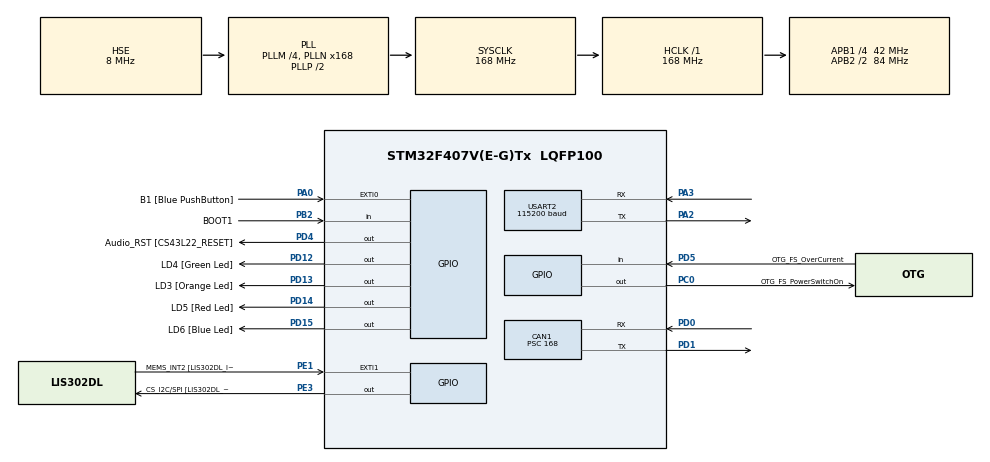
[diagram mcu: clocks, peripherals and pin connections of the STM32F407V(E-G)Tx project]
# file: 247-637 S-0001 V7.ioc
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CAN1.BS1=CAN_BS1_3TQ
CAN1.CalculateTimeQuantum=4000.0
CAN1.Prescaler=168
Mcu.Family=STM32F4
Mcu.Name=STM32F407V(E-G)Tx
Mcu.Package=LQFP100
NVIC.PriorityGroup=NVIC_PRIORITYGROUP_0
NVIC.TIM6_DAC_IRQn=true\:0\:0\:false\:false\:true\:true\:true
PA0-WKUP.GPIO_Label=B1 [Blue PushButton]
PA0-WKUP.Signal=GPXTI0
PA10.GPIO_Label=OTG_FS_ID
PA10.GPIO_Mode=GPIO_MODE_AF_PP
PA10.GPIO_PuPd=GPIO_NOPULL
PA10.GPIO_Speed=GPIO_SPEED_FREQ_LOW
PA10.Signal=USB_OTG_FS_ID
PA11.GPIO_Label=OTG_FS_DM
PA11.GPIO_Mode=GPIO_MODE_AF_PP
PA11.GPIO_PuPd=GPIO_NOPULL
PA11.GPIO_Speed=GPIO_SPEED_FREQ_LOW
PA11.Signal=USB_OTG_FS_DM
PA12.GPIO_Label=OTG_FS_DP
PA12.GPIO_Mode=GPIO_MODE_AF_PP
PA12.GPIO_PuPd=GPIO_NOPULL
PA12.GPIO_Speed=GPIO_SPEED_FREQ_LOW
PA12.Signal=USB_OTG_FS_DP
PA13.GPIO_Label=SWDIO
PA13.Signal=SYS_JTMS-SWDIO
PA14.GPIO_Label=SWCLK
PA14.Signal=SYS_JTCK-SWCLK
PA2.Mode=Asynchronous
PA2.Signal=USART2_TX
PA3.Mode=Asynchronous
PA3.Signal=USART2_RX
PA4.GPIO_Label=I2S3_WS [CS43L22_LRCK]
PA4.GPIO_Mode=GPIO_MODE_AF_PP
PA4.GPIO_PuPd=GPIO_NOPULL
PA4.GPIO_Speed=GPIO_SPEED_FREQ_LOW
PA4.Signal=I2S3_WS
PA5.GPIO_Label=SPI1_SCK [LIS302DL_SCL/SPC]
PA5.GPIO_Mode=GPIO_MODE_AF_PP
PA5.GPIO_PuPd=GPIO_NOPULL
PA5.GPIO_Speed=GPIO_SPEED_FREQ_LOW
PA5.Signal=SPI1_SCK
PA6.GPIO_Label=SPI1_MISO [LIS302DL_SDO]
PA6.GPIO_Mode=GPIO_MODE_AF_PP
PA6.GPIO_PuPd=GPIO_NOPULL
PA6.GPIO_Speed=GPIO_SPEED_FREQ_LOW
PA6.Signal=SPI1_MISO
PA7.GPIO_Label=SPI1_MOSI [LIS302DL_SDA/SDI/SDO]
PA7.GPIO_Mode=GPIO_MODE_AF_PP
PA7.GPIO_PuPd=GPIO_NOPULL
PA7.GPIO_Speed=GPIO_SPEED_FREQ_LOW
PA7.Signal=SPI1_MOSI
PA9.GPIO_Label=VBUS_FS
PA9.GPIO_Mode=GPIO_MODE_INPUT
PA9.GPIO_PuPd=GPIO_NOPULL
PA9.Signal=USB_OTG_FS_VBUS
PB10.GPIO_Label=CLK_IN [MP45DT02_CLK]
PB10.GPIO_Mode=GPIO_MODE_AF_PP
PB10.GPIO_PuPd=GPIO_NOPULL
PB10.GPIO_Speed=GPIO_SPEED_FREQ_LOW
PB10.Signal=I2S2_CK
PB2.GPIO_Label=BOOT1
PB2.GPIO_Mode=GPIO_MODE_INPUT
PB2.GPIO_PuPd=GPIO_NOPULL
PB2.Signal=GPIO_Input
PB3.GPIO_Label=SWO
PB3.Signal=SYS_JTDO-SWO
PB6.GPIO_Label=Audio_SCL [CS43L22_SCL]
PB6.GPIO_Mode=GPIO_MODE_AF_OD
PB6.GPIO_PuPd=GPIO_NOPULL
PB6.GPIO_Speed=GPIO_SPEED_FREQ_LOW
PB6.Signal=I2C1_SCL
PB9.GPIO_Label=Audio_SDA [CS43L22_SDA]
PB9.GPIO_Mode=GPIO_MODE_AF_OD
PB9.GPIO_PuPd=GPIO_NOPULL
PB9.GPIO_Speed=GPIO_SPEED_FREQ_LOW
PB9.Signal=I2C1_SDA
PC0.GPIO_Label=OTG_FS_PowerSwitchOn
PC0.GPIO_PuPd=GPIO_NOPULL
PC0.GPIO_Speed=GPIO_SPEED_FREQ_LOW
PC0.PinState=GPIO_PIN_SET
PC0.Signal=GPIO_Output
PC10.GPIO_Label=I2S3_SCK [CS43L22_SCLK]
PC10.GPIO_Mode=GPIO_MODE_AF_PP
PC10.GPIO_PuPd=GPIO_NOPULL
PC10.GPIO_Speed=GPIO_SPEED_FREQ_LOW
PC10.Signal=I2S3_CK
PC12.GPIO_Label=I2S3_SD [CS43L22_SDIN]
PC12.GPIO_Mode=GPIO_MODE_AF_PP
PC12.GPIO_PuPd=GPIO_NOPULL
PC12.GPIO_Speed=GPIO_SPEED_FREQ_LOW
PC12.Signal=I2S3_SD
PC14-OSC32_IN.GPIO_Label=PC14-OSC32_IN
PC14-OSC32_IN.Signal=RCC_OSC32_IN
PC15-OSC32_OUT.GPIO_Label=PC15-OSC32_OUT
PC15-OSC32_OUT.Signal=RCC_OSC32_OUT
PC3.GPIO_Label=PDM_OUT [MP45DT02_DOUT]
PC3.GPIO_Mode=GPIO_MODE_AF_PP
PC3.GPIO_PuPd=GPIO_NOPULL
PC3.GPIO_Speed=GPIO_SPEED_FREQ_LOW
PC3.Signal=I2S2_SD
PC7.GPIO_Label=I2S3_MCK [CS43L22_MCLK]
PC7.GPIO_Mode=GPIO_MODE_AF_PP
PC7.GPIO_PuPd=GPIO_NOPULL
PC7.GPIO_Speed=GPIO_SPEED_FREQ_LOW
PC7.Signal=I2S3_MCK
PD0.Mode=Master
PD0.Signal=CAN1_RX
PD1.Mode=Master
PD1.Signal=CAN1_TX
PD12.GPIO_Label=LD4 [Green Led]
PD12.GPIO_PuPd=GPIO_NOPULL
PD12.GPIO_Speed=GPIO_SPEED_FREQ_LOW
PD12.Signal=GPIO_Output
PD13.GPIO_Label=LD3 [Orange Led]
PD13.GPIO_PuPd=GPIO_NOPULL
PD13.GPIO_Speed=GPIO_SPEED_FREQ_LOW
PD13.Signal=GPIO_Output
PD14.GPIO_Label=LD5 [Red Led]
PD14.GPIO_PuPd=GPIO_NOPULL
PD14.GPIO_Speed=GPIO_SPEED_FREQ_LOW
PD14.Signal=GPIO_Output
PD15.GPIO_Label=LD6 [Blue Led]
PD15.GPIO_PuPd=GPIO_NOPULL
PD15.GPIO_Speed=GPIO_SPEED_FREQ_LOW
PD15.Signal=GPIO_Output
PD4.GPIO_Label=Audio_RST [CS43L22_RESET]
PD4.GPIO_PuPd=GPIO_NOPULL
PD4.GPIO_Speed=GPIO_SPEED_FREQ_LOW
PD4.Signal=GPIO_Output
PD5.GPIO_Label=OTG_FS_OverCurrent
PD5.GPIO_Mode=GPIO_MODE_INPUT
PD5.GPIO_PuPd=GPIO_NOPULL
PD5.Signal=GPIO_Input
PE1.GPIO_Label=MEMS_INT2 [LIS302DL_INT2]
PE1.GPIO_ModeDefaultEXTI=GPIO_MODE_EVT_RISING
PE1.GPIO_PuPd=GPIO_NOPULL
PE1.Signal=GPXTI1
PE3.GPIO_Label=CS_I2C/SPI [LIS302DL_CS_I2C/SPI]
PE3.GPIO_PuPd=GPIO_NOPULL
PE3.GPIO_Speed=GPIO_SPEED_FREQ_LOW
PE3.Signal=GPIO_Output
PH0-OSC_IN.GPIO_Label=PH0-OSC_IN
PH0-OSC_IN.Mode=HSE-External-Oscillator
PH0-OSC_IN.Signal=RCC_OSC_IN
PH1-OSC_OUT.GPIO_Label=PH1-OSC_OUT
PH1-OSC_OUT.Mode=HSE-External-Oscillator
PH1-OSC_OUT.Signal=RCC_OSC_OUT
ProjectManager.HeapSize=0x200
ProjectManager.StackSize=0x400
ProjectManager.TargetToolchain=EWARM V8
RCC.48MHZClocksFreq_Value=48000000
RCC.AHBFreq_Value=168000000
RCC.APB1CLKDivider=RCC_HCLK_DIV4
RCC.APB1Freq_Value=42000000
RCC.APB1TimFreq_Value=84000000
RCC.APB2CLKDivider=RCC_HCLK_DIV2
RCC.APB2Freq_Value=84000000
RCC.APB2TimFreq_Value=168000000
RCC.CortexFreq_Value=168000000
RCC.HCLKFreq_Value=168000000
RCC.HSE_VALUE=8000000
RCC.HSI_VALUE=16000000
RCC.LSE_VALUE=32768
RCC.PLLM=4
RCC.PLLN=168
RCC.PLLQ=7
RCC.PLLSourceVirtual=RCC_PLLSOURCE_HSE
RCC.SYSCLKFreq_VALUE=168000000
RCC.SYSCLKSource=RCC_SYSCLKSOURCE_PLLCLK
RCC.VCOOutputFreq_Value=336000000
TIM6.Period=PILOTETIMER6UP_COMPTE_MAXIMAL
TIM6.TIM_MasterOutputTrigger=TIM_TRGO_ENABLE
USART2.BaudRate=115200
USART2.VirtualMode=VM_ASYNC
VP_TIM6_VS_ClockSourceINT.Mode=Enable_Timer
board=STM32F407G-DISC1

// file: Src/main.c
/* USER CODE BEGIN Header */
/**
  ******************************************************************************
  * @file           : main.c
  * @brief          : Main program body
  ******************************************************************************
  * @attention
  *
  * <h2><center>&copy; Copyright (c) 2019 STMicroelectronics.
  * All rights reserved.</center></h2>
  *
  * This software component is licensed by ST under BSD 3-Clause license,
  * the "License"; You may not use this file except in compliance with the
  * License. You may obtain a copy of the License at:
  *                        opensource.org/licenses/BSD-3-Clause
  *
  ******************************************************************************
  */
/* USER CODE END Header */

#include "main.h"

/* USER CODE BEGIN Includes */
#include "stm32f4xx_hal.h"
#include "stm32f4xx_hal_can.h"
//notes sur l'utilisation des timers.
// https://www.st.com/content/ccc/resource/technical/document/application_note/group0/91/01/84/3f/7c/67/41/3f/DM00236305/files/DM00236305.pdf/jcr:content/translations/en.DM00236305.pdf
//https://stm32f4-discovery.net/2014/05/stm32f4-stm32f429-discovery-pwm-tutorial/
//timer 6 sur APB1
//timer_tick_frequency = Timer_default_frequency / (prescaller_set + 1)
//default_frequency = 84MHz compte tenu des options choisies avec le "cube"
//TIM_Period = timer_tick_frequency / TIM_frequency - 1
//il faut s'assurer que le compte pour la periode est plus petit que 65536

//usart2
//tx pa2
//rx pa3

#include "piloteTimer6Up.h"
#include "piloteUSART2.h"
#include "piloteIOB1.h"
#include "piloteIOT1.h"
#include "piloteIOT2.h"
#include "piloteIOT3.h"
#include "piloteIOT4.h"
#include "serviceBaseDeTemps.h"
#include "serviceProtocole637.h"
#include "interfaceB1.h"
#include "interfaceT1.h"
#include "interfaceT2.h"
#include "interfaceT3.h"
#include "interfaceT4.h"
//#include "interfaceS0002.h"
#include "interfacePass.h"
#include "processusCom.h"
//#include "processusBouton.h"

/* USER CODE END Includes */

CAN_HandleTypeDef hcan1;

TIM_HandleTypeDef htim6;

UART_HandleTypeDef huart2;

/* USER CODE BEGIN PV */
TIM_HandleTypeDef htim6;

UART_HandleTypeDef huart2;
/* USER CODE END PV */

void SystemClock_Config(void);
static void MX_GPIO_Init(void);
static void MX_USART2_UART_Init(void);
static void MX_TIM6_Init(void);
static void MX_CAN1_Init(void);
/* USER CODE BEGIN PFP */
void SystemClock_Config(void);
static void MX_GPIO_Init(void);
static void MX_USART2_UART_Init(void);
static void MX_TIM6_Init(void);
/* USER CODE END PFP */

/* USER CODE BEGIN 0 */
void main_initialise(void)
{
    piloteTimer6Up_initialise();
    piloteUSART2_initialise();
    piloteCAN1_initialise();
    piloteIOT2_initialise();
    piloteIOT3_initialise();
    piloteIOT4_initialise();
    serviceBaseDeTemps_initialise();
    serviceProtocole637_initialise();
    interfaceT2_initialise();
    interfaceT3_initialise();
    interfaceT4_initialise();
    interfacePass_initialise();
    processusClignotant_initialise();
}

void neFaitRien(void)
{
}

/* USER CODE END 0 */

int main(void)
{
  /* USER CODE BEGIN 1 */
  main_initialise();
  /* USER CODE END 1 */

  /* MCU Configuration--------------------------------------------------------*/

  /* Reset of all peripherals, Initializes the Flash interface and the Systick. */
  HAL_Init();

  /* Configure the system clock */
  SystemClock_Config();

  /* Initialize all configured peripherals */
  MX_GPIO_Init();
  MX_USART2_UART_Init();
  MX_TIM6_Init();
  MX_CAN1_Init();
  /* USER CODE BEGIN 2 */
  piloteTimer6Up_permetLesInterruptions();
  /* USER CODE END 2 */

  /* Infinite loop */
  /* USER CODE BEGIN WHILE */
  while (1)
  {}
  /* USER CODE END 3 */
}

void SystemClock_Config(void)
{
  RCC_OscInitTypeDef RCC_OscInitStruct = {0};
  RCC_ClkInitTypeDef RCC_ClkInitStruct = {0};

  /** Configure the main internal regulator output voltage
  */
  __HAL_RCC_PWR_CLK_ENABLE();
  __HAL_PWR_VOLTAGESCALING_CONFIG(PWR_REGULATOR_VOLTAGE_SCALE1);
  /** Initializes the CPU, AHB and APB busses clocks
  */
  RCC_OscInitStruct.OscillatorType = RCC_OSCILLATORTYPE_HSE;
  RCC_OscInitStruct.HSEState = RCC_HSE_ON;
  RCC_OscInitStruct.PLL.PLLState = RCC_PLL_ON;
  RCC_OscInitStruct.PLL.PLLSource = RCC_PLLSOURCE_HSE;
  RCC_OscInitStruct.PLL.PLLM = 4;
  RCC_OscInitStruct.PLL.PLLN = 168;
  RCC_OscInitStruct.PLL.PLLP = RCC_PLLP_DIV2;
  RCC_OscInitStruct.PLL.PLLQ = 7;
  if (HAL_RCC_OscConfig(&RCC_OscInitStruct) != HAL_OK)
  {
    Error_Handler();
  }
  /** Initializes the CPU, AHB and APB busses clocks
  */
  RCC_ClkInitStruct.ClockType = RCC_CLOCKTYPE_HCLK|RCC_CLOCKTYPE_SYSCLK
                              |RCC_CLOCKTYPE_PCLK1|RCC_CLOCKTYPE_PCLK2;
  RCC_ClkInitStruct.SYSCLKSource = RCC_SYSCLKSOURCE_PLLCLK;
  RCC_ClkInitStruct.AHBCLKDivider = RCC_SYSCLK_DIV1;
  RCC_ClkInitStruct.APB1CLKDivider = RCC_HCLK_DIV4;
  RCC_ClkInitStruct.APB2CLKDivider = RCC_HCLK_DIV2;

  if (HAL_RCC_ClockConfig(&RCC_ClkInitStruct, FLASH_LATENCY_5) != HAL_OK)
  {
    Error_Handler();
  }
}

static void MX_CAN1_Init(void)
{

  hcan1.Instance = CAN1;
  hcan1.Init.Prescaler = 168;
  hcan1.Init.Mode = CAN_MODE_NORMAL;
  hcan1.Init.SyncJumpWidth = CAN_SJW_1TQ;
  hcan1.Init.TimeSeg1 = CAN_BS1_3TQ;
  hcan1.Init.TimeSeg2 = CAN_BS2_1TQ;
  hcan1.Init.TimeTriggeredMode = DISABLE;
  hcan1.Init.AutoBusOff = ENABLE;
  hcan1.Init.AutoWakeUp = DISABLE;
  hcan1.Init.AutoRetransmission = DISABLE;
  hcan1.Init.ReceiveFifoLocked = DISABLE;
  hcan1.Init.TransmitFifoPriority = DISABLE;
  if (HAL_CAN_Init(&hcan1) != HAL_OK)
  {
    Error_Handler();
  }

}

static void MX_TIM6_Init(void)
{

  TIM_MasterConfigTypeDef sMasterConfig = {0};

  htim6.Instance = TIM6;
  htim6.Init.Prescaler = 0;
  htim6.Init.CounterMode = TIM_COUNTERMODE_UP;
  htim6.Init.Period = PILOTETIMER6UP_COMPTE_MAXIMAL;
  htim6.Init.AutoReloadPreload = TIM_AUTORELOAD_PRELOAD_DISABLE;
  if (HAL_TIM_Base_Init(&htim6) != HAL_OK)
  {
    Error_Handler();
  }
  sMasterConfig.MasterOutputTrigger = TIM_TRGO_ENABLE;
  sMasterConfig.MasterSlaveMode = TIM_MASTERSLAVEMODE_DISABLE;
  if (HAL_TIMEx_MasterConfigSynchronization(&htim6, &sMasterConfig) != HAL_OK)
  {
    Error_Handler();
  }

}

static void MX_USART2_UART_Init(void)
{

  huart2.Instance = USART2;
  huart2.Init.BaudRate = 115200;
  huart2.Init.WordLength = UART_WORDLENGTH_8B;
  huart2.Init.StopBits = UART_STOPBITS_1;
  huart2.Init.Parity = UART_PARITY_NONE;
  huart2.Init.Mode = UART_MODE_TX_RX;
  huart2.Init.HwFlowCtl = UART_HWCONTROL_NONE;
  huart2.Init.OverSampling = UART_OVERSAMPLING_16;
  if (HAL_UART_Init(&huart2) != HAL_OK)
  {
    Error_Handler();
  }

}

static void MX_GPIO_Init(void)
{
  GPIO_InitTypeDef GPIO_InitStruct = {0};

  /* GPIO Ports Clock Enable */
  __HAL_RCC_GPIOE_CLK_ENABLE();
  __HAL_RCC_GPIOC_CLK_ENABLE();
  __HAL_RCC_GPIOH_CLK_ENABLE();
  __HAL_RCC_GPIOA_CLK_ENABLE();
  __HAL_RCC_GPIOB_CLK_ENABLE();
  __HAL_RCC_GPIOD_CLK_ENABLE();

  /*Configure GPIO pin Output Level */
  HAL_GPIO_WritePin(CS_I2C_SPI_GPIO_Port, CS_I2C_SPI_Pin, GPIO_PIN_RESET);

  /*Configure GPIO pin Output Level */
  HAL_GPIO_WritePin(OTG_FS_PowerSwitchOn_GPIO_Port, OTG_FS_PowerSwitchOn_Pin, GPIO_PIN_SET);

  /*Configure GPIO pin Output Level */
  HAL_GPIO_WritePin(GPIOD, LD4_Pin|LD3_Pin|LD5_Pin|LD6_Pin
                          |Audio_RST_Pin, GPIO_PIN_RESET);

  /*Configure GPIO pin : CS_I2C_SPI_Pin */
  GPIO_InitStruct.Pin = CS_I2C_SPI_Pin;
  GPIO_InitStruct.Mode = GPIO_MODE_OUTPUT_PP;
  GPIO_InitStruct.Pull = GPIO_NOPULL;
  GPIO_InitStruct.Speed = GPIO_SPEED_FREQ_LOW;
  HAL_GPIO_Init(CS_I2C_SPI_GPIO_Port, &GPIO_InitStruct);

  /*Configure GPIO pin : OTG_FS_PowerSwitchOn_Pin */
  GPIO_InitStruct.Pin = OTG_FS_PowerSwitchOn_Pin;
  GPIO_InitStruct.Mode = GPIO_MODE_OUTPUT_PP;
  GPIO_InitStruct.Pull = GPIO_NOPULL;
  GPIO_InitStruct.Speed = GPIO_SPEED_FREQ_LOW;
  HAL_GPIO_Init(OTG_FS_PowerSwitchOn_GPIO_Port, &GPIO_InitStruct);

  /*Configure GPIO pin : PDM_OUT_Pin */
  GPIO_InitStruct.Pin = PDM_OUT_Pin;
  GPIO_InitStruct.Mode = GPIO_MODE_AF_PP;
  GPIO_InitStruct.Pull = GPIO_NOPULL;
  GPIO_InitStruct.Speed = GPIO_SPEED_FREQ_LOW;
  GPIO_InitStruct.Alternate = GPIO_AF5_SPI2;
  HAL_GPIO_Init(PDM_OUT_GPIO_Port, &GPIO_InitStruct);

  /*Configure GPIO pin : B1_Pin */
  GPIO_InitStruct.Pin = B1_Pin;
  GPIO_InitStruct.Mode = GPIO_MODE_IT_RISING;
  GPIO_InitStruct.Pull = GPIO_NOPULL;
  HAL_GPIO_Init(B1_GPIO_Port, &GPIO_InitStruct);

  /*Configure GPIO pin : I2S3_WS_Pin */
  GPIO_InitStruct.Pin = I2S3_WS_Pin;
  GPIO_InitStruct.Mode = GPIO_MODE_AF_PP;
  GPIO_InitStruct.Pull = GPIO_NOPULL;
  GPIO_InitStruct.Speed = GPIO_SPEED_FREQ_LOW;
  GPIO_InitStruct.Alternate = GPIO_AF6_SPI3;
  HAL_GPIO_Init(I2S3_WS_GPIO_Port, &GPIO_InitStruct);

  /*Configure GPIO pins : SPI1_SCK_Pin SPI1_MISO_Pin SPI1_MOSI_Pin */
  GPIO_InitStruct.Pin = SPI1_SCK_Pin|SPI1_MISO_Pin|SPI1_MOSI_Pin;
  GPIO_InitStruct.Mode = GPIO_MODE_AF_PP;
  GPIO_InitStruct.Pull = GPIO_NOPULL;
  GPIO_InitStruct.Speed = GPIO_SPEED_FREQ_LOW;
  GPIO_InitStruct.Alternate = GPIO_AF5_SPI1;
  HAL_GPIO_Init(GPIOA, &GPIO_InitStruct);

  /*Configure GPIO pin : BOOT1_Pin */
  GPIO_InitStruct.Pin = BOOT1_Pin;
  GPIO_InitStruct.Mode = GPIO_MODE_INPUT;
  GPIO_InitStruct.Pull = GPIO_NOPULL;
  HAL_GPIO_Init(BOOT1_GPIO_Port, &GPIO_InitStruct);

  /*Configure GPIO pin : CLK_IN_Pin */
  GPIO_InitStruct.Pin = CLK_IN_Pin;
  GPIO_InitStruct.Mode = GPIO_MODE_AF_PP;
  GPIO_InitStruct.Pull = GPIO_NOPULL;
  GPIO_InitStruct.Speed = GPIO_SPEED_FREQ_LOW;
  GPIO_InitStruct.Alternate = GPIO_AF5_SPI2;
  HAL_GPIO_Init(CLK_IN_GPIO_Port, &GPIO_InitStruct);

  /*Configure GPIO pins : LD4_Pin LD3_Pin LD5_Pin LD6_Pin
                           Audio_RST_Pin */
  GPIO_InitStruct.Pin = LD4_Pin|LD3_Pin|LD5_Pin|LD6_Pin
                          |Audio_RST_Pin;
  GPIO_InitStruct.Mode = GPIO_MODE_OUTPUT_PP;
  GPIO_InitStruct.Pull = GPIO_NOPULL;
  GPIO_InitStruct.Speed = GPIO_SPEED_FREQ_LOW;
  HAL_GPIO_Init(GPIOD, &GPIO_InitStruct);

  /*Configure GPIO pins : I2S3_MCK_Pin I2S3_SCK_Pin I2S3_SD_Pin */
  GPIO_InitStruct.Pin = I2S3_MCK_Pin|I2S3_SCK_Pin|I2S3_SD_Pin;
  GPIO_InitStruct.Mode = GPIO_MODE_AF_PP;
  GPIO_InitStruct.Pull = GPIO_NOPULL;
  GPIO_InitStruct.Speed = GPIO_SPEED_FREQ_LOW;
  GPIO_InitStruct.Alternate = GPIO_AF6_SPI3;
  HAL_GPIO_Init(GPIOC, &GPIO_InitStruct);

  /*Configure GPIO pin : VBUS_FS_Pin */
  GPIO_InitStruct.Pin = VBUS_FS_Pin;
  GPIO_InitStruct.Mode = GPIO_MODE_INPUT;
  GPIO_InitStruct.Pull = GPIO_NOPULL;
  HAL_GPIO_Init(VBUS_FS_GPIO_Port, &GPIO_InitStruct);

  /*Configure GPIO pins : OTG_FS_ID_Pin OTG_FS_DM_Pin OTG_FS_DP_Pin */
  GPIO_InitStruct.Pin = OTG_FS_ID_Pin|OTG_FS_DM_Pin|OTG_FS_DP_Pin;
  GPIO_InitStruct.Mode = GPIO_MODE_AF_PP;
  GPIO_InitStruct.Pull = GPIO_NOPULL;
  GPIO_InitStruct.Speed = GPIO_SPEED_FREQ_LOW;
  GPIO_InitStruct.Alternate = GPIO_AF10_OTG_FS;
  HAL_GPIO_Init(GPIOA, &GPIO_InitStruct);

  /*Configure GPIO pin : OTG_FS_OverCurrent_Pin */
  GPIO_InitStruct.Pin = OTG_FS_OverCurrent_Pin;
  GPIO_InitStruct.Mode = GPIO_MODE_INPUT;
  GPIO_InitStruct.Pull = GPIO_NOPULL;
  HAL_GPIO_Init(OTG_FS_OverCurrent_GPIO_Port, &GPIO_InitStruct);

  /*Configure GPIO pins : Audio_SCL_Pin Audio_SDA_Pin */
  GPIO_InitStruct.Pin = Audio_SCL_Pin|Audio_SDA_Pin;
  GPIO_InitStruct.Mode = GPIO_MODE_AF_OD;
  GPIO_InitStruct.Pull = GPIO_PULLUP;
  GPIO_InitStruct.Speed = GPIO_SPEED_FREQ_LOW;
  GPIO_InitStruct.Alternate = GPIO_AF4_I2C1;
  HAL_GPIO_Init(GPIOB, &GPIO_InitStruct);

  /*Configure GPIO pin : MEMS_INT2_Pin */
  GPIO_InitStruct.Pin = MEMS_INT2_Pin;
  GPIO_InitStruct.Mode = GPIO_MODE_EVT_RISING;
  GPIO_InitStruct.Pull = GPIO_NOPULL;
  HAL_GPIO_Init(MEMS_INT2_GPIO_Port, &GPIO_InitStruct);

}

void Error_Handler(void)
{
}

/************************ (C) COPYRIGHT STMicroelectronics *****END OF FILE****/
